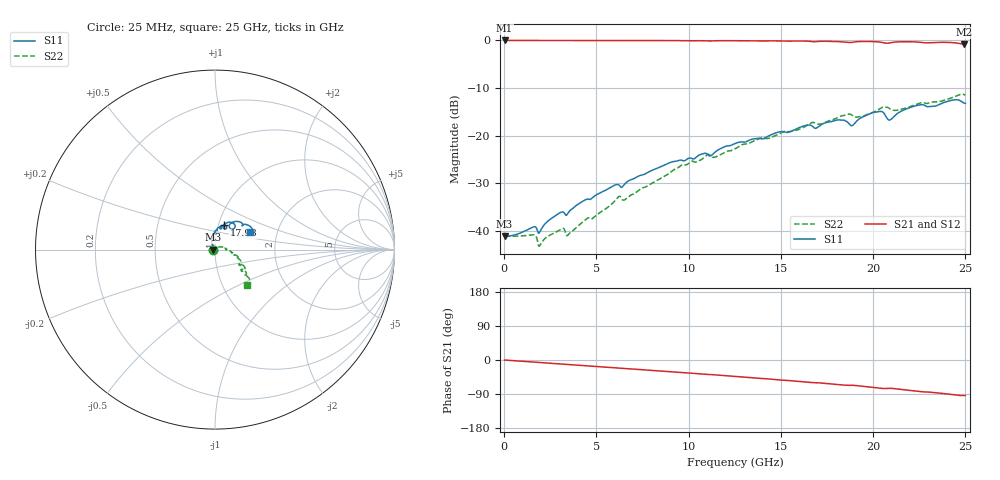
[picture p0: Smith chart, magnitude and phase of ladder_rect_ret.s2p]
! RG_ts6_sw_gnd: kisi's ladder with the plane pairs as finite cavities (rect) (Finite board 24 × 16 mm, ThunderScope stack, via F → In3 (stub to B) through In1 GND / In2 GND / In4 GND, four GND vias at 1 mm joined to In1 and In4 and In2)
# Hz S RI R 50
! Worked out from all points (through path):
!   1000 points, 25 MHz to 25 GHz, reference 50 ohm
!   highest |S21| = -0.08 dB at 25 MHz (marker M1); lowest = -0.9 dB at 24.93 GHz (marker M2)
!   group delay of S21, straight-line fit = 10.3 ps
!   lowest |S11| = -41.1 dB at 25 MHz (marker M3), VSWR 1.02, Z = 49.1 + j0.00914 ohm
!   |S11| at or under -10 dB: start of sweep to end of sweep
!   |S22| runs from -43.2 to -11.3 dB; largest |S21 - S12| = 0
!   S11 on the Smith chart (normalised r, x): 25 MHz: 0.98, +0.00; 17.98 GHz: 1.06, +0.29; 25 GHz: 1.45, +0.29
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2.5e7  -0.00877 9.3e-05  0.9912 -0.00147  0.9912 -0.00147  -0.00877 8.91e-05
1.575e9  -0.00879 0.00661  0.9864 -0.0932  0.9864 -0.0932  -0.00673 0.00617
1.95e9  -0.00796 0.00594  0.983 -0.113  0.983 -0.113  -0.00483 0.00521
2.65e9  -0.0101 0.00959  0.9788 -0.1547  0.9788 -0.1547  -0.00436 0.00828
3.15e9  -0.00972 0.0125  0.9729 -0.1845  0.9729 -0.1845  -0.00169 0.0105
3.475e9  -0.0102 0.0117  0.9692 -0.201  0.9692 -0.201  -0.000496 0.00912
4.2e9  -0.012 0.0162  0.9603 -0.2438  0.9603 -0.2438  0.00193 0.012
6.175e9  -0.0126 0.0279  0.9221 -0.3564  0.9221 -0.3564  0.0161 0.0158
6.55e9  -0.0152 0.0273  0.9158 -0.3741  0.9158 -0.3741  0.0168 0.0131
8.35e9  -0.0173 0.0425  0.8689 -0.4738  0.8689 -0.4738  0.0311 0.0147
9.625e9  -0.0127 0.0536  0.8238 -0.5402  0.8238 -0.5402  0.0475 0.0124
1.12e10  -0.0124 0.06  0.7678 -0.6091  0.7678 -0.6091  0.0611 -0.0018
1.2525e10  -0.0111 0.0818  0.7152 -0.6788  0.7152 -0.6788  0.0727 -0.000383
1.6675e10  0.0359 0.1213  0.4894 -0.8324  0.4894 -0.8324  0.1292 -0.0437
1.7975e10  0.0496 0.1358  0.4159 -0.873  0.4159 -0.873  0.1396 -0.0574
1.885e10  0.0508 0.1161  0.374 -0.8695  0.374 -0.8695  0.1375 -0.0881
2.035e10  0.1008 0.1475  0.2562 -0.9194  0.2562 -0.9194  0.1643 -0.0954
2.085e10  0.0885 0.1153  0.2456 -0.8974  0.2456 -0.8974  0.1515 -0.121
2.24e10  0.1382 0.1542  0.1232 -0.9468  0.1232 -0.9468  0.1727 -0.1256
2.445e10  0.2033 0.1216  -0.0385 -0.9343  -0.0385 -0.9343  0.1943 -0.1687
2.4925e10  0.1976 0.0937  -0.0584 -0.9044  -0.0584 -0.9044  0.184 -0.1958
2.5e10  0.1945 0.0957  -0.0576 -0.9059  -0.0576 -0.9059  0.1796 -0.1952
